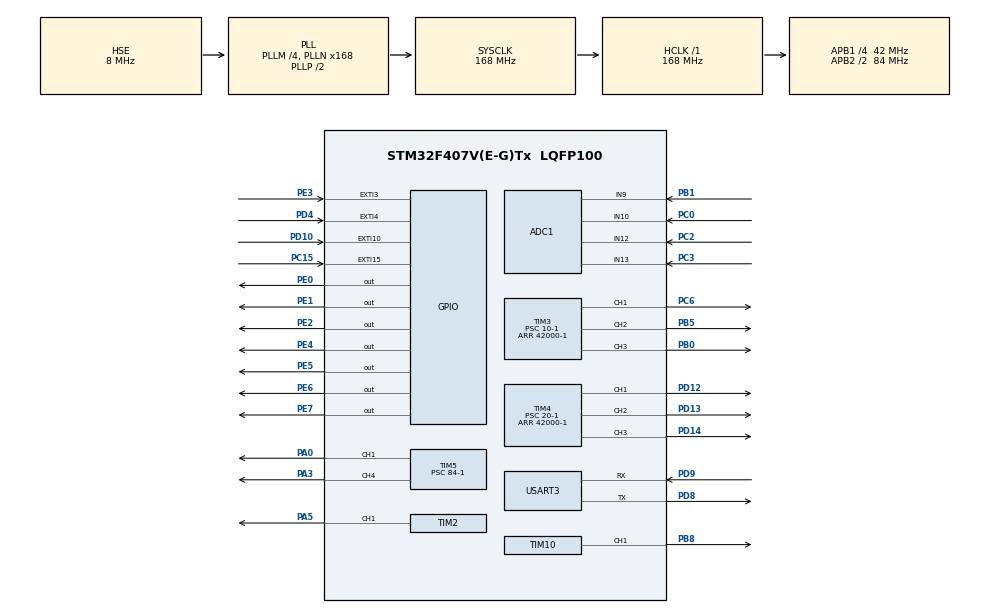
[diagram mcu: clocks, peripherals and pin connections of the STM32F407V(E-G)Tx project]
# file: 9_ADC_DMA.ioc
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ADC1.Channel-0\#ChannelRegularConversion=ADC_CHANNEL_10
ADC1.Channel-1\#ChannelRegularConversion=ADC_CHANNEL_12
ADC1.Channel-2\#ChannelRegularConversion=ADC_CHANNEL_13
ADC1.Channel-3\#ChannelRegularConversion=ADC_CHANNEL_9
ADC1.ContinuousConvMode=ENABLE
ADC1.DMAContinuousRequests=ENABLE
ADC1.NbrOfConversion=4
ADC1.NbrOfConversionFlag=1
ADC1.Rank-0\#ChannelRegularConversion=1
ADC1.Rank-1\#ChannelRegularConversion=2
ADC1.Rank-2\#ChannelRegularConversion=3
ADC1.Rank-3\#ChannelRegularConversion=4
ADC1.SamplingTime-0\#ChannelRegularConversion=ADC_SAMPLETIME_84CYCLES
ADC1.SamplingTime-1\#ChannelRegularConversion=ADC_SAMPLETIME_84CYCLES
ADC1.SamplingTime-2\#ChannelRegularConversion=ADC_SAMPLETIME_84CYCLES
ADC1.SamplingTime-3\#ChannelRegularConversion=ADC_SAMPLETIME_84CYCLES
ADC1.ScanConvMode=ENABLE
ADC1.master=1
Dma.ADC1.0.Direction=DMA_PERIPH_TO_MEMORY
Dma.ADC1.0.FIFOMode=DMA_FIFOMODE_DISABLE
Dma.ADC1.0.Instance=DMA2_Stream0
Dma.ADC1.0.MemDataAlignment=DMA_MDATAALIGN_HALFWORD
Dma.ADC1.0.MemInc=DMA_MINC_ENABLE
Dma.ADC1.0.Mode=DMA_CIRCULAR
Dma.ADC1.0.PeriphDataAlignment=DMA_PDATAALIGN_HALFWORD
Dma.ADC1.0.PeriphInc=DMA_PINC_DISABLE
Dma.ADC1.0.Priority=DMA_PRIORITY_LOW
Dma.Request0=ADC1
Mcu.Family=STM32F4
Mcu.Name=STM32F407V(E-G)Tx
Mcu.Package=LQFP100
NVIC.DMA2_Stream0_IRQn=true\:0\:0\:false\:false\:true\:false\:true\:true
NVIC.EXTI15_10_IRQn=true\:0\:0\:false\:true\:true\:5\:true\:true\:true
NVIC.EXTI3_IRQn=true\:0\:0\:false\:true\:true\:3\:true\:true\:true
NVIC.EXTI4_IRQn=true\:0\:0\:false\:true\:true\:4\:true\:true\:true
NVIC.PriorityGroup=NVIC_PRIORITYGROUP_4
NVIC.TIM7_IRQn=true\:0\:0\:false\:true\:true\:2\:true\:true\:true
NVIC.USART3_IRQn=true\:0\:0\:false\:true\:true\:1\:true\:true\:true
PA0-WKUP.Signal=S_TIM5_CH1
PA3.Signal=S_TIM5_CH4
PA5.Signal=S_TIM2_CH1_ETR
PB0.Signal=S_TIM3_CH3
PB1.Signal=ADCx_IN9
PB5.Signal=S_TIM3_CH2
PB8.Signal=S_TIM10_CH1
PC0.Signal=ADCx_IN10
PC15-OSC32_OUT.Signal=GPXTI15
PC2.Signal=ADCx_IN12
PC3.Signal=ADCx_IN13
PC6.Signal=S_TIM3_CH1
PD10.Signal=GPXTI10
PD12.Signal=S_TIM4_CH1
PD13.Signal=S_TIM4_CH2
PD14.Signal=S_TIM4_CH3
PD4.Signal=GPXTI4
PD8.Mode=Asynchronous
PD8.Signal=USART3_TX
PD9.Mode=Asynchronous
PD9.Signal=USART3_RX
PE0.Signal=GPIO_Output
PE1.Signal=GPIO_Output
PE2.Signal=GPIO_Output
PE3.Signal=GPXTI3
PE4.Signal=GPIO_Output
PE5.Signal=GPIO_Output
PE6.Signal=GPIO_Output
PE7.Signal=GPIO_Output
PH0-OSC_IN.Mode=HSE-External-Oscillator
PH0-OSC_IN.Signal=RCC_OSC_IN
PH1-OSC_OUT.Mode=HSE-External-Oscillator
PH1-OSC_OUT.Signal=RCC_OSC_OUT
ProjectManager.HeapSize=0x200
ProjectManager.StackSize=0x400
ProjectManager.TargetToolchain=STM32CubeIDE
RCC.48MHZClocksFreq_Value=84000000
RCC.AHBFreq_Value=168000000
RCC.APB1CLKDivider=RCC_HCLK_DIV4
RCC.APB1Freq_Value=42000000
RCC.APB1TimFreq_Value=84000000
RCC.APB2CLKDivider=RCC_HCLK_DIV2
RCC.APB2Freq_Value=84000000
RCC.APB2TimFreq_Value=168000000
RCC.CortexFreq_Value=168000000
RCC.HCLKFreq_Value=168000000
RCC.HSE_VALUE=8000000
RCC.HSI_VALUE=16000000
RCC.LSE_VALUE=32768
RCC.PLLM=4
RCC.PLLN=168
RCC.PLLSourceVirtual=RCC_PLLSOURCE_HSE
RCC.SYSCLKFreq_VALUE=168000000
RCC.SYSCLKSource=RCC_SYSCLKSOURCE_PLLCLK
RCC.VCOOutputFreq_Value=336000000
SH.ADCx_IN10.0=ADC1_IN10,IN10
SH.ADCx_IN12.0=ADC1_IN12,IN12
SH.ADCx_IN13.0=ADC1_IN13,IN13
SH.ADCx_IN9.0=ADC1_IN9,IN9
SH.S_TIM10_CH1.0=TIM10_CH1,PWM Generation1 CH1
SH.S_TIM2_CH1_ETR.0=TIM2_CH1,PWM Generation1 CH1
SH.S_TIM3_CH1.0=TIM3_CH1,PWM Generation1 CH1
SH.S_TIM3_CH2.0=TIM3_CH2,PWM Generation2 CH2
SH.S_TIM3_CH3.0=TIM3_CH3,PWM Generation3 CH3
SH.S_TIM4_CH1.0=TIM4_CH1,PWM Generation1 CH1
SH.S_TIM4_CH2.0=TIM4_CH2,PWM Generation2 CH2
SH.S_TIM4_CH3.0=TIM4_CH3,PWM Generation3 CH3
SH.S_TIM5_CH1.0=TIM5_CH1,PWM Generation1 CH1
SH.S_TIM5_CH4.0=TIM5_CH4,PWM Generation4 CH4
TIM10.Channel=TIM_CHANNEL_1
TIM10.Period=10000-1
TIM10.Prescaler=336-1
TIM10.Pulse=100
TIM2.Channel-PWM\ Generation1\ CH1=TIM_CHANNEL_1
TIM2.Period=168-1
TIM2.Prescaler=1000-1
TIM2.Pulse-PWM\ Generation1\ CH1=84
TIM3.Channel-PWM\ Generation1\ CH1=TIM_CHANNEL_1
TIM3.Channel-PWM\ Generation2\ CH2=TIM_CHANNEL_2
TIM3.Channel-PWM\ Generation3\ CH3=TIM_CHANNEL_3
TIM3.Period=42000-1
TIM3.Prescaler=10-1
TIM3.Pulse-PWM\ Generation1\ CH1=21000-1
TIM3.Pulse-PWM\ Generation2\ CH2=10500-1
TIM3.Pulse-PWM\ Generation3\ CH3=5250-1
TIM4.Channel-PWM\ Generation1\ CH1=TIM_CHANNEL_1
TIM4.Channel-PWM\ Generation2\ CH2=TIM_CHANNEL_2
TIM4.Channel-PWM\ Generation3\ CH3=TIM_CHANNEL_3
TIM4.Period=42000-1
TIM4.Prescaler=20-1
TIM4.Pulse-PWM\ Generation1\ CH1=21000-1
TIM4.Pulse-PWM\ Generation2\ CH2=10500-1
TIM4.Pulse-PWM\ Generation3\ CH3=5250-1
TIM5.Channel-PWM\ Generation1\ CH1=TIM_CHANNEL_1
TIM5.Channel-PWM\ Generation4\ CH4=TIM_CHANNEL_4
TIM5.Period=10000-1
TIM5.Prescaler=84-1
TIM5.Pulse-PWM\ Generation4\ CH4=5000
TIM7.Period=8400-1
TIM7.Prescaler=10000-1
USART3.VirtualMode=VM_ASYNC
VP_TIM10_VS_ClockSourceINT.Mode=Enable_Timer
VP_TIM2_VS_ClockSourceINT.Mode=Internal
VP_TIM3_VS_ClockSourceINT.Mode=Internal
VP_TIM4_VS_ClockSourceINT.Mode=Internal
VP_TIM5_VS_ClockSourceINT.Mode=Internal
VP_TIM7_VS_ClockSourceINT.Mode=Enable_Timer
board=custom

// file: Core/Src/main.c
/* USER CODE BEGIN Header */
/**
 ******************************************************************************
 * @file           : main.c
 * @brief          : Main program body
 ******************************************************************************
 * @attention
 *
 * Copyright (c) 2024 STMicroelectronics.
 * All rights reserved.
 *
 * This software is licensed under terms that can be found in the LICENSE file
 * in the root directory of this software component.
 * If no LICENSE file comes with this software, it is provided AS-IS.
 *
 ******************************************************************************
 */
/* USER CODE END Header */
#include "main.h"

/* USER CODE BEGIN Includes */
#include <stdio.h>
#include <string.h>
#include "CLCD.h"
#include "7SEG.h"
/* USER CODE END Includes */

ADC_HandleTypeDef hadc1;
DMA_HandleTypeDef hdma_adc1;

TIM_HandleTypeDef htim2;
TIM_HandleTypeDef htim3;
TIM_HandleTypeDef htim4;
TIM_HandleTypeDef htim5;
TIM_HandleTypeDef htim7;
TIM_HandleTypeDef htim10;

UART_HandleTypeDef huart3;

/* USER CODE BEGIN PV */
uint8_t rx3_data;
uint8_t buf = 0;
uint8_t rx3_buf[100] = "uart test";
/* USER CODE END PV */

void SystemClock_Config(void);
static void MX_GPIO_Init(void);
static void MX_DMA_Init(void);
static void MX_USART3_UART_Init(void);
static void MX_TIM7_Init(void);
static void MX_TIM3_Init(void);
static void MX_TIM4_Init(void);
static void MX_TIM10_Init(void);
static void MX_TIM2_Init(void);
static void MX_TIM5_Init(void);
static void MX_ADC1_Init(void);
static void MX_NVIC_Init(void);
/* USER CODE BEGIN PFP */
int _write(int file, char *p, int len) {
	HAL_UART_Transmit(&huart3, p, len, 10);
	return len;
}

void HAL_UART_RxCpltCallback(UART_HandleTypeDef *huart) {
	if (huart->Instance == USART3) {
		if (buf < 100 - 1) {
			buf++;
		} else {
			buf = 0;
		}

		if (rx3_buf[buf - 1] == '\n') {
			rx3_buf[buf - 1] = '\0';
			buf = 0;
		}

		HAL_UART_Receive_IT(&huart3, &rx3_buf[buf], 1);
	}
}

void HAL_TIM_PeriodElapsedCallback(TIM_HandleTypeDef *htim) {
	static unsigned char cnt = 0;

	if (htim->Instance == TIM7) {
//		HAL_GPIO_TogglePin(GPIOD, GPIO_PIN_12);
//		_7SEG_SetNumber(DGT1, cnt/10, OFF);
//		_7SEG_SetNumber(DGT2, cnt%10, ON);
//		cnt++;
	}
}

void HAL_GPIO_EXTI_Callback(uint16_t GPIO_Pin) {
//	if (GPIO_Pin == GPIO_PIN_3) {
//		HAL_GPIO_TogglePin(GPIOD, GPIO_PIN_12);
//	}
//	if (GPIO_Pin == GPIO_PIN_15) {
//		HAL_GPIO_TogglePin(GPIOD, GPIO_PIN_13);
//	}
//	if (GPIO_Pin == GPIO_PIN_4) {
//		HAL_GPIO_TogglePin(GPIOD, GPIO_PIN_14);
//	}
//	if (GPIO_Pin == GPIO_PIN_10) {
//		HAL_GPIO_TogglePin(GPIOB, GPIO_PIN_0);
//	}
}
/* USER CODE END PFP */

int main(void)
{
  /* USER CODE BEGIN 1 */
	volatile uint16_t adcval[4];
  /* USER CODE END 1 */

  /* MCU Configuration--------------------------------------------------------*/

  /* Reset of all peripherals, Initializes the Flash interface and the Systick. */
  HAL_Init();

  /* Configure the system clock */
  SystemClock_Config();

  /* Initialize all configured peripherals */
  MX_GPIO_Init();
  MX_DMA_Init();
  MX_USART3_UART_Init();
  MX_TIM7_Init();
  MX_TIM3_Init();
  MX_TIM4_Init();
  MX_TIM10_Init();
  MX_TIM2_Init();
  MX_TIM5_Init();
  MX_ADC1_Init();

  /* Initialize interrupts */
  MX_NVIC_Init();
  /* USER CODE BEGIN 2 */
	HAL_GPIO_WritePin(GPIOD, GPIO_PIN_12, GPIO_PIN_SET);
	HAL_GPIO_WritePin(GPIOD, GPIO_PIN_13, GPIO_PIN_SET);
	HAL_GPIO_WritePin(GPIOD, GPIO_PIN_14, GPIO_PIN_SET);
	HAL_GPIO_WritePin(GPIOC, GPIO_PIN_6, GPIO_PIN_SET);
	HAL_GPIO_WritePin(GPIOB, GPIO_PIN_0, GPIO_PIN_SET);
	HAL_GPIO_WritePin(GPIOB, GPIO_PIN_5, GPIO_PIN_SET);

//	HAL_UART_Receive_IT(&huart3, &rx3_buf[buf], 1);
	HAL_TIM_Base_Start_IT(&htim7);

//	HAL_TIM_PWM_Start(&htim3, TIM_CHANNEL_1);
//	HAL_TIM_PWM_Start(&htim3, TIM_CHANNEL_2);
//	HAL_TIM_PWM_Start(&htim3, TIM_CHANNEL_3);
//	HAL_TIM_PWM_Start(&htim4, TIM_CHANNEL_1);
//	HAL_TIM_PWM_Start(&htim4, TIM_CHANNEL_2);
//	HAL_TIM_PWM_Start(&htim4, TIM_CHANNEL_3);

	/*Servo motor*/
//	HAL_TIM_PWM_Start(&htim10, TIM_CHANNEL_1);
//	TIM10->CCR1 = 1500;
	/*Buzzer*/
//	HAL_TIM_PWM_Start(&htim2, TIM_CHANNEL_1);
//	TIM2->ARR = 500 - 1;
//	TIM2->CCR1 = 250;
	/*DC motor 100Hz Positive*/
//	HAL_TIM_PWM_Start(&htim5, TIM_CHANNEL_4); // motor driver input A, 50% pwm
//	HAL_TIM_PWM_Start(&htim5, TIM_CHANNEL_1); // motor driver input B, 0% pwm
	/*DC motor 100Hz Negative*/
//	TIM5->CCR4 = 0;
//	TIM5->CCR1 = 5000;

	HAL_ADC_Start_DMA(&hadc1, &adcval[0], 4);

	CLCD_GPIO_Init();
	CLCD_Init();

	CLCD_Puts(0, 0, "Welcome to");
	CLCD_Puts(0, 1, "Kkang Home");

//	CLCD_Clear();

//	_7SEG_GPIO_Init();
  /* USER CODE END 2 */

  /* Infinite loop */
  /* USER CODE BEGIN WHILE */
	uint8_t a = 0;
	uint8_t str[20];
	uint16_t ccr = 0;
	uint16_t arr = 1000;
	uint16_t psc = 1000;
	uint8_t ud_flag = 0;

	while (1) {
		sprintf(str, "%4d  %4d", adcval[0], adcval[1]);
		CLCD_Puts(0, 0, str);

		sprintf(str, "%4d  %4d", adcval[2], adcval[3]);
				CLCD_Puts(0, 1, str);

    /* USER CODE END WHILE */

	}
}

void SystemClock_Config(void)
{
  RCC_OscInitTypeDef RCC_OscInitStruct = {0};
  RCC_ClkInitTypeDef RCC_ClkInitStruct = {0};

  /** Configure the main internal regulator output voltage
  */
  __HAL_RCC_PWR_CLK_ENABLE();
  __HAL_PWR_VOLTAGESCALING_CONFIG(PWR_REGULATOR_VOLTAGE_SCALE1);

  /** Initializes the RCC Oscillators according to the specified parameters
  * in the RCC_OscInitTypeDef structure.
  */
  RCC_OscInitStruct.OscillatorType = RCC_OSCILLATORTYPE_HSE;
  RCC_OscInitStruct.HSEState = RCC_HSE_ON;
  RCC_OscInitStruct.PLL.PLLState = RCC_PLL_ON;
  RCC_OscInitStruct.PLL.PLLSource = RCC_PLLSOURCE_HSE;
  RCC_OscInitStruct.PLL.PLLM = 4;
  RCC_OscInitStruct.PLL.PLLN = 168;
  RCC_OscInitStruct.PLL.PLLP = RCC_PLLP_DIV2;
  RCC_OscInitStruct.PLL.PLLQ = 4;
  if (HAL_RCC_OscConfig(&RCC_OscInitStruct) != HAL_OK)
  {
    Error_Handler();
  }

  /** Initializes the CPU, AHB and APB buses clocks
  */
  RCC_ClkInitStruct.ClockType = RCC_CLOCKTYPE_HCLK|RCC_CLOCKTYPE_SYSCLK
                              |RCC_CLOCKTYPE_PCLK1|RCC_CLOCKTYPE_PCLK2;
  RCC_ClkInitStruct.SYSCLKSource = RCC_SYSCLKSOURCE_PLLCLK;
  RCC_ClkInitStruct.AHBCLKDivider = RCC_SYSCLK_DIV1;
  RCC_ClkInitStruct.APB1CLKDivider = RCC_HCLK_DIV4;
  RCC_ClkInitStruct.APB2CLKDivider = RCC_HCLK_DIV2;

  if (HAL_RCC_ClockConfig(&RCC_ClkInitStruct, FLASH_LATENCY_5) != HAL_OK)
  {
    Error_Handler();
  }
}

/**
  * @brief NVIC Configuration.
  * @retval None
  */
static void MX_NVIC_Init(void)
{
  /* USART3_IRQn interrupt configuration */
  HAL_NVIC_SetPriority(USART3_IRQn, 0, 0);
  HAL_NVIC_EnableIRQ(USART3_IRQn);
  /* TIM7_IRQn interrupt configuration */
  HAL_NVIC_SetPriority(TIM7_IRQn, 0, 0);
  HAL_NVIC_EnableIRQ(TIM7_IRQn);
  /* EXTI3_IRQn interrupt configuration */
  HAL_NVIC_SetPriority(EXTI3_IRQn, 0, 0);
  HAL_NVIC_EnableIRQ(EXTI3_IRQn);
  /* EXTI4_IRQn interrupt configuration */
  HAL_NVIC_SetPriority(EXTI4_IRQn, 0, 0);
  HAL_NVIC_EnableIRQ(EXTI4_IRQn);
  /* EXTI15_10_IRQn interrupt configuration */
  HAL_NVIC_SetPriority(EXTI15_10_IRQn, 0, 0);
  HAL_NVIC_EnableIRQ(EXTI15_10_IRQn);
}

static void MX_ADC1_Init(void)
{

  ADC_ChannelConfTypeDef sConfig = {0};

  /** Configure the global features of the ADC (Clock, Resolution, Data Alignment and number of conversion)
  */
  hadc1.Instance = ADC1;
  hadc1.Init.ClockPrescaler = ADC_CLOCK_SYNC_PCLK_DIV4;
  hadc1.Init.Resolution = ADC_RESOLUTION_12B;
  hadc1.Init.ScanConvMode = ENABLE;
  hadc1.Init.ContinuousConvMode = ENABLE;
  hadc1.Init.DiscontinuousConvMode = DISABLE;
  hadc1.Init.ExternalTrigConvEdge = ADC_EXTERNALTRIGCONVEDGE_NONE;
  hadc1.Init.ExternalTrigConv = ADC_SOFTWARE_START;
  hadc1.Init.DataAlign = ADC_DATAALIGN_RIGHT;
  hadc1.Init.NbrOfConversion = 4;
  hadc1.Init.DMAContinuousRequests = ENABLE;
  hadc1.Init.EOCSelection = ADC_EOC_SINGLE_CONV;
  if (HAL_ADC_Init(&hadc1) != HAL_OK)
  {
    Error_Handler();
  }

  /** Configure for the selected ADC regular channel its corresponding rank in the sequencer and its sample time.
  */
  sConfig.Channel = ADC_CHANNEL_10;
  sConfig.Rank = 1;
  sConfig.SamplingTime = ADC_SAMPLETIME_84CYCLES;
  if (HAL_ADC_ConfigChannel(&hadc1, &sConfig) != HAL_OK)
  {
    Error_Handler();
  }

  /** Configure for the selected ADC regular channel its corresponding rank in the sequencer and its sample time.
  */
  sConfig.Channel = ADC_CHANNEL_12;
  sConfig.Rank = 2;
  if (HAL_ADC_ConfigChannel(&hadc1, &sConfig) != HAL_OK)
  {
    Error_Handler();
  }

  /** Configure for the selected ADC regular channel its corresponding rank in the sequencer and its sample time.
  */
  sConfig.Channel = ADC_CHANNEL_13;
  sConfig.Rank = 3;
  if (HAL_ADC_ConfigChannel(&hadc1, &sConfig) != HAL_OK)
  {
    Error_Handler();
  }

  /** Configure for the selected ADC regular channel its corresponding rank in the sequencer and its sample time.
  */
  sConfig.Channel = ADC_CHANNEL_9;
  sConfig.Rank = 4;
  if (HAL_ADC_ConfigChannel(&hadc1, &sConfig) != HAL_OK)
  {
    Error_Handler();
  }

}

static void MX_TIM2_Init(void)
{

  TIM_ClockConfigTypeDef sClockSourceConfig = {0};
  TIM_MasterConfigTypeDef sMasterConfig = {0};
  TIM_OC_InitTypeDef sConfigOC = {0};

  htim2.Instance = TIM2;
  htim2.Init.Prescaler = 1000-1;
  htim2.Init.CounterMode = TIM_COUNTERMODE_UP;
  htim2.Init.Period = 168-1;
  htim2.Init.ClockDivision = TIM_CLOCKDIVISION_DIV1;
  htim2.Init.AutoReloadPreload = TIM_AUTORELOAD_PRELOAD_DISABLE;
  if (HAL_TIM_Base_Init(&htim2) != HAL_OK)
  {
    Error_Handler();
  }
  sClockSourceConfig.ClockSource = TIM_CLOCKSOURCE_INTERNAL;
  if (HAL_TIM_ConfigClockSource(&htim2, &sClockSourceConfig) != HAL_OK)
  {
    Error_Handler();
  }
  if (HAL_TIM_PWM_Init(&htim2) != HAL_OK)
  {
    Error_Handler();
  }
  sMasterConfig.MasterOutputTrigger = TIM_TRGO_RESET;
  sMasterConfig.MasterSlaveMode = TIM_MASTERSLAVEMODE_DISABLE;
  if (HAL_TIMEx_MasterConfigSynchronization(&htim2, &sMasterConfig) != HAL_OK)
  {
    Error_Handler();
  }
  sConfigOC.OCMode = TIM_OCMODE_PWM1;
  sConfigOC.Pulse = 84;
  sConfigOC.OCPolarity = TIM_OCPOLARITY_HIGH;
  sConfigOC.OCFastMode = TIM_OCFAST_DISABLE;
  if (HAL_TIM_PWM_ConfigChannel(&htim2, &sConfigOC, TIM_CHANNEL_1) != HAL_OK)
  {
    Error_Handler();
  }
  HAL_TIM_MspPostInit(&htim2);

}

static void MX_TIM3_Init(void)
{

  TIM_ClockConfigTypeDef sClockSourceConfig = {0};
  TIM_MasterConfigTypeDef sMasterConfig = {0};
  TIM_OC_InitTypeDef sConfigOC = {0};

  htim3.Instance = TIM3;
  htim3.Init.Prescaler = 10-1;
  htim3.Init.CounterMode = TIM_COUNTERMODE_UP;
  htim3.Init.Period = 42000-1;
  htim3.Init.ClockDivision = TIM_CLOCKDIVISION_DIV1;
  htim3.Init.AutoReloadPreload = TIM_AUTORELOAD_PRELOAD_DISABLE;
  if (HAL_TIM_Base_Init(&htim3) != HAL_OK)
  {
    Error_Handler();
  }
  sClockSourceConfig.ClockSource = TIM_CLOCKSOURCE_INTERNAL;
  if (HAL_TIM_ConfigClockSource(&htim3, &sClockSourceConfig) != HAL_OK)
  {
    Error_Handler();
  }
  if (HAL_TIM_PWM_Init(&htim3) != HAL_OK)
  {
    Error_Handler();
  }
  sMasterConfig.MasterOutputTrigger = TIM_TRGO_RESET;
  sMasterConfig.MasterSlaveMode = TIM_MASTERSLAVEMODE_DISABLE;
  if (HAL_TIMEx_MasterConfigSynchronization(&htim3, &sMasterConfig) != HAL_OK)
  {
    Error_Handler();
  }
  sConfigOC.OCMode = TIM_OCMODE_PWM1;
  sConfigOC.Pulse = 21000-1;
  sConfigOC.OCPolarity = TIM_OCPOLARITY_HIGH;
  sConfigOC.OCFastMode = TIM_OCFAST_DISABLE;
  if (HAL_TIM_PWM_ConfigChannel(&htim3, &sConfigOC, TIM_CHANNEL_1) != HAL_OK)
  {
    Error_Handler();
  }
  sConfigOC.Pulse = 10500-1;
  if (HAL_TIM_PWM_ConfigChannel(&htim3, &sConfigOC, TIM_CHANNEL_2) != HAL_OK)
  {
    Error_Handler();
  }
  sConfigOC.Pulse = 5250-1;
  if (HAL_TIM_PWM_ConfigChannel(&htim3, &sConfigOC, TIM_CHANNEL_3) != HAL_OK)
  {
    Error_Handler();
  }
  HAL_TIM_MspPostInit(&htim3);

}

static void MX_TIM4_Init(void)
{

  TIM_ClockConfigTypeDef sClockSourceConfig = {0};
  TIM_MasterConfigTypeDef sMasterConfig = {0};
  TIM_OC_InitTypeDef sConfigOC = {0};

  htim4.Instance = TIM4;
  htim4.Init.Prescaler = 20-1;
  htim4.Init.CounterMode = TIM_COUNTERMODE_UP;
  htim4.Init.Period = 42000-1;
  htim4.Init.ClockDivision = TIM_CLOCKDIVISION_DIV1;
  htim4.Init.AutoReloadPreload = TIM_AUTORELOAD_PRELOAD_DISABLE;
  if (HAL_TIM_Base_Init(&htim4) != HAL_OK)
  {
    Error_Handler();
  }
  sClockSourceConfig.ClockSource = TIM_CLOCKSOURCE_INTERNAL;
  if (HAL_TIM_ConfigClockSource(&htim4, &sClockSourceConfig) != HAL_OK)
  {
    Error_Handler();
  }
  if (HAL_TIM_PWM_Init(&htim4) != HAL_OK)
  {
    Error_Handler();
  }
  sMasterConfig.MasterOutputTrigger = TIM_TRGO_RESET;
  sMasterConfig.MasterSlaveMode = TIM_MASTERSLAVEMODE_DISABLE;
  if (HAL_TIMEx_MasterConfigSynchronization(&htim4, &sMasterConfig) != HAL_OK)
  {
    Error_Handler();
  }
  sConfigOC.OCMode = TIM_OCMODE_PWM1;
  sConfigOC.Pulse = 21000-1;
  sConfigOC.OCPolarity = TIM_OCPOLARITY_HIGH;
  sConfigOC.OCFastMode = TIM_OCFAST_DISABLE;
  if (HAL_TIM_PWM_ConfigChannel(&htim4, &sConfigOC, TIM_CHANNEL_1) != HAL_OK)
  {
    Error_Handler();
  }
  sConfigOC.Pulse = 10500-1;
  if (HAL_TIM_PWM_ConfigChannel(&htim4, &sConfigOC, TIM_CHANNEL_2) != HAL_OK)
  {
    Error_Handler();
  }
  sConfigOC.Pulse = 5250-1;
  if (HAL_TIM_PWM_ConfigChannel(&htim4, &sConfigOC, TIM_CHANNEL_3) != HAL_OK)
  {
    Error_Handler();
  }
  HAL_TIM_MspPostInit(&htim4);

}

static void MX_TIM5_Init(void)
{

  TIM_ClockConfigTypeDef sClockSourceConfig = {0};
  TIM_MasterConfigTypeDef sMasterConfig = {0};
  TIM_OC_InitTypeDef sConfigOC = {0};

  htim5.Instance = TIM5;
  htim5.Init.Prescaler = 84-1;
  htim5.Init.CounterMode = TIM_COUNTERMODE_UP;
  htim5.Init.Period = 10000-1;
  htim5.Init.ClockDivision = TIM_CLOCKDIVISION_DIV1;
  htim5.Init.AutoReloadPreload = TIM_AUTORELOAD_PRELOAD_DISABLE;
  if (HAL_TIM_Base_Init(&htim5) != HAL_OK)
  {
    Error_Handler();
  }
  sClockSourceConfig.ClockSource = TIM_CLOCKSOURCE_INTERNAL;
  if (HAL_TIM_ConfigClockSource(&htim5, &sClockSourceConfig) != HAL_OK)
  {
    Error_Handler();
  }
  if (HAL_TIM_PWM_Init(&htim5) != HAL_OK)
  {
    Error_Handler();
  }
  sMasterConfig.MasterOutputTrigger = TIM_TRGO_RESET;
  sMasterConfig.MasterSlaveMode = TIM_MASTERSLAVEMODE_DISABLE;
  if (HAL_TIMEx_MasterConfigSynchronization(&htim5, &sMasterConfig) != HAL_OK)
  {
    Error_Handler();
  }
  sConfigOC.OCMode = TIM_OCMODE_PWM1;
  sConfigOC.Pulse = 0;
  sConfigOC.OCPolarity = TIM_OCPOLARITY_HIGH;
  sConfigOC.OCFastMode = TIM_OCFAST_DISABLE;
  if (HAL_TIM_PWM_ConfigChannel(&htim5, &sConfigOC, TIM_CHANNEL_1) != HAL_OK)
  {
    Error_Handler();
  }
  sConfigOC.Pulse = 5000;
  if (HAL_TIM_PWM_ConfigChannel(&htim5, &sConfigOC, TIM_CHANNEL_4) != HAL_OK)
  {
    Error_Handler();
  }
  HAL_TIM_MspPostInit(&htim5);

}

static void MX_TIM7_Init(void)
{

  TIM_MasterConfigTypeDef sMasterConfig = {0};

  htim7.Instance = TIM7;
  htim7.Init.Prescaler = 10000-1;
  htim7.Init.CounterMode = TIM_COUNTERMODE_UP;
  htim7.Init.Period = 8400-1;
  htim7.Init.AutoReloadPreload = TIM_AUTORELOAD_PRELOAD_DISABLE;
  if (HAL_TIM_Base_Init(&htim7) != HAL_OK)
  {
    Error_Handler();
  }
  sMasterConfig.MasterOutputTrigger = TIM_TRGO_RESET;
  sMasterConfig.MasterSlaveMode = TIM_MASTERSLAVEMODE_DISABLE;
  if (HAL_TIMEx_MasterConfigSynchronization(&htim7, &sMasterConfig) != HAL_OK)
  {
    Error_Handler();
  }

}

static void MX_TIM10_Init(void)
{

  TIM_OC_InitTypeDef sConfigOC = {0};

  htim10.Instance = TIM10;
  htim10.Init.Prescaler = 336-1;
  htim10.Init.CounterMode = TIM_COUNTERMODE_UP;
  htim10.Init.Period = 10000-1;
  htim10.Init.ClockDivision = TIM_CLOCKDIVISION_DIV1;
  htim10.Init.AutoReloadPreload = TIM_AUTORELOAD_PRELOAD_DISABLE;
  if (HAL_TIM_Base_Init(&htim10) != HAL_OK)
  {
    Error_Handler();
  }
  if (HAL_TIM_PWM_Init(&htim10) != HAL_OK)
  {
    Error_Handler();
  }
  sConfigOC.OCMode = TIM_OCMODE_PWM1;
  sConfigOC.Pulse = 100;
  sConfigOC.OCPolarity = TIM_OCPOLARITY_HIGH;
  sConfigOC.OCFastMode = TIM_OCFAST_DISABLE;
  if (HAL_TIM_PWM_ConfigChannel(&htim10, &sConfigOC, TIM_CHANNEL_1) != HAL_OK)
  {
    Error_Handler();
  }
  HAL_TIM_MspPostInit(&htim10);

}

static void MX_USART3_UART_Init(void)
{

  huart3.Instance = USART3;
  huart3.Init.BaudRate = 115200;
  huart3.Init.WordLength = UART_WORDLENGTH_8B;
  huart3.Init.StopBits = UART_STOPBITS_1;
  huart3.Init.Parity = UART_PARITY_NONE;
  huart3.Init.Mode = UART_MODE_TX_RX;
  huart3.Init.HwFlowCtl = UART_HWCONTROL_NONE;
  huart3.Init.OverSampling = UART_OVERSAMPLING_16;
  if (HAL_UART_Init(&huart3) != HAL_OK)
  {
    Error_Handler();
  }

}

static void MX_DMA_Init(void)
{

  /* DMA controller clock enable */
  __HAL_RCC_DMA2_CLK_ENABLE();

  /* DMA interrupt init */
  /* DMA2_Stream0_IRQn interrupt configuration */
  HAL_NVIC_SetPriority(DMA2_Stream0_IRQn, 0, 0);
  HAL_NVIC_EnableIRQ(DMA2_Stream0_IRQn);

}

static void MX_GPIO_Init(void)
{
  GPIO_InitTypeDef GPIO_InitStruct = {0};

  /* GPIO Ports Clock Enable */
  __HAL_RCC_GPIOE_CLK_ENABLE();
  __HAL_RCC_GPIOC_CLK_ENABLE();
  __HAL_RCC_GPIOH_CLK_ENABLE();
  __HAL_RCC_GPIOA_CLK_ENABLE();
  __HAL_RCC_GPIOB_CLK_ENABLE();
  __HAL_RCC_GPIOD_CLK_ENABLE();

  /*Configure GPIO pin Output Level */
  HAL_GPIO_WritePin(GPIOE, GPIO_PIN_2|GPIO_PIN_4|GPIO_PIN_5|GPIO_PIN_6
                          |GPIO_PIN_7|GPIO_PIN_0|GPIO_PIN_1, GPIO_PIN_RESET);

  /*Configure GPIO pins : PE2 PE4 PE5 PE6
                           PE7 PE0 PE1 */
  GPIO_InitStruct.Pin = GPIO_PIN_2|GPIO_PIN_4|GPIO_PIN_5|GPIO_PIN_6
                          |GPIO_PIN_7|GPIO_PIN_0|GPIO_PIN_1;
  GPIO_InitStruct.Mode = GPIO_MODE_OUTPUT_PP;
  GPIO_InitStruct.Pull = GPIO_NOPULL;
  GPIO_InitStruct.Speed = GPIO_SPEED_FREQ_LOW;
  HAL_GPIO_Init(GPIOE, &GPIO_InitStruct);

  /*Configure GPIO pin : PE3 */
  GPIO_InitStruct.Pin = GPIO_PIN_3;
  GPIO_InitStruct.Mode = GPIO_MODE_IT_RISING;
  GPIO_InitStruct.Pull = GPIO_NOPULL;
  HAL_GPIO_Init(GPIOE, &GPIO_InitStruct);

  /*Configure GPIO pin : PC15 */
  GPIO_InitStruct.Pin = GPIO_PIN_15;
  GPIO_InitStruct.Mode = GPIO_MODE_IT_RISING;
  GPIO_InitStruct.Pull = GPIO_NOPULL;
  HAL_GPIO_Init(GPIOC, &GPIO_InitStruct);

  /*Configure GPIO pins : PD10 PD4 */
  GPIO_InitStruct.Pin = GPIO_PIN_10|GPIO_PIN_4;
  GPIO_InitStruct.Mode = GPIO_MODE_IT_RISING;
  GPIO_InitStruct.Pull = GPIO_NOPULL;
  HAL_GPIO_Init(GPIOD, &GPIO_InitStruct);

}

void Error_Handler(void)
{
	__disable_irq();
	while (1) {
	}
}
